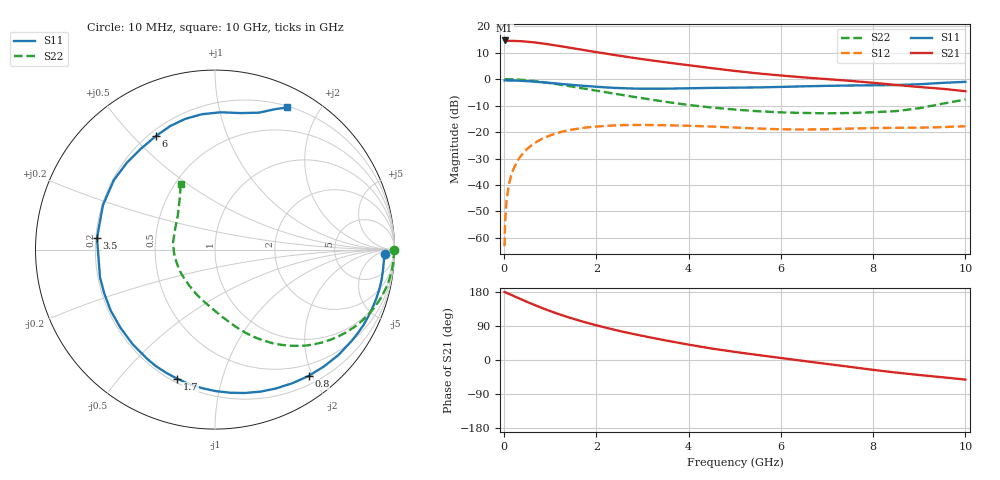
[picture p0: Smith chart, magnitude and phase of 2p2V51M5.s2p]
! (c) 2009  Infineon Technologies AG, Munich
! Infineon Technologies  Discrete & RF Semiconductors
! BFP420
! VCE =  2.5 V,  IC =  1.5 mA
! Common Emitter S-Parameters:  Nov 2009
# GHz  S  MA  R  50
!  f  S11  S21  S12  S22
! GHz  MAG  ANG  MAG  ANG  MAG  ANG  MAG  ANG
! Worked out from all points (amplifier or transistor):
!   46 points, 10 MHz to 10 GHz, reference 50 ohm
!   highest |S21| = 14.6 dB at 10 MHz (marker M1)
!   |S21| within 3 dB of that: start of sweep to 1.513 GHz
!   unconditionally stable (mu >= 1): 4.157 GHz to end of sweep
!   at 300 MHz: K = 0.03, MSG = 22.5 dB, |S12| = -30.6 dB
!   at 1.7 GHz: K = 0.31, MSG = 14.8 dB, |S12| = -18.5 dB
!   at 10 GHz: K = 1.27, MAG = 3.5 dB, |S12| = -17.8 dB
!   lowest NFmin = 0.52 dB at 900 MHz
!   S11 on the Smith chart (normalised r, x): 10 MHz: 29, -14; 800 MHz: 0.32, -1.95; 1.7 GHz: 0.22, -0.73; 3.5 GHz: 0.20, +0.05; 6 GHz: 0.23, +0.58; 10 GHz: 0.21, +1.61
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0.01  0.9458 -1.5  5.376 179.3  0.0007 103.2  0.9963 0.0
0.02  0.948 -1.2  5.224 179.2  0.002 89.5  0.9964 -0.7
0.05  0.9434 -3.2  5.256 177.3  0.0049 87.1  0.9965 -1.9
0.1  0.9428 -6.7  5.285 174.7  0.0099 86.6  0.9954 -3.8
0.15  0.9436 -10.1  5.287 172.0  0.0149 84.0  0.9929 -5.8
0.35  0.9313 -23.7  5.209 161.2  0.0343 76.2  0.9742 -13.3
0.5  0.9158 -33.7  5.093 153.2  0.0481 70.4  0.9507 -18.8
0.8  0.8762 -53.4  4.755 138.3  0.0728 58.9  0.8884 -29.0
1  0.8455 -66.1  4.493 129.1  0.0866 52.0  0.84 -35.2
1.2  0.8162 -78.2  4.219 120.4  0.0984 45.5  0.7897 -40.9
1.4  0.7879 -89.9  3.949 112.4  0.1081 39.5  0.7407 -46.1
1.7  0.7498 -106.3  3.582 101.5  0.1194 31.5  0.6704 -52.9
2.2  0.699 -131.0  3.04 85.4  0.1309 20.1  0.5674 -62.6
2.6  0.6732 -149.7  2.684 73.9  0.1354 12.0  0.4958 -69.6
3  0.6592 -166.4  2.385 63.7  0.1363 5.4  0.4358 -76.0
3.5  0.6605 174.5  2.08 51.6  0.1346 -1.6  0.3729 -84.5
4.5  0.6838 145.5  1.613 30.2  0.1271 -11.4  0.2907 -103.9
5.5  0.6976 126.1  1.284 13.2  0.1167 -16.4  0.2477 -124.6
6  0.7129 117.6  1.171 5.3  0.1128 -16.9  0.2355 -136.3
7  0.7468 102.9  1 -10.4  0.1132 -16.7  0.2263 -161.0
8.5  0.7738 79.4  0.775 -33.2  0.1202 -20.8  0.2489 153.7
10  0.8888 63.0  0.592 -51.7  0.129 -22.7  0.4127 117.5
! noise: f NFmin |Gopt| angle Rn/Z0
0.9  0.52  0.55  33  0.27
1.8  1.07  0.35  77  0.21
2.4  1.18  0.36  101  0.18
3  1.41  0.36  134  0.13
4  1.68  0.4  -172  0.1
5  2.08  0.44  -130  0.32
6  2.89  0.57  -114  0.39
